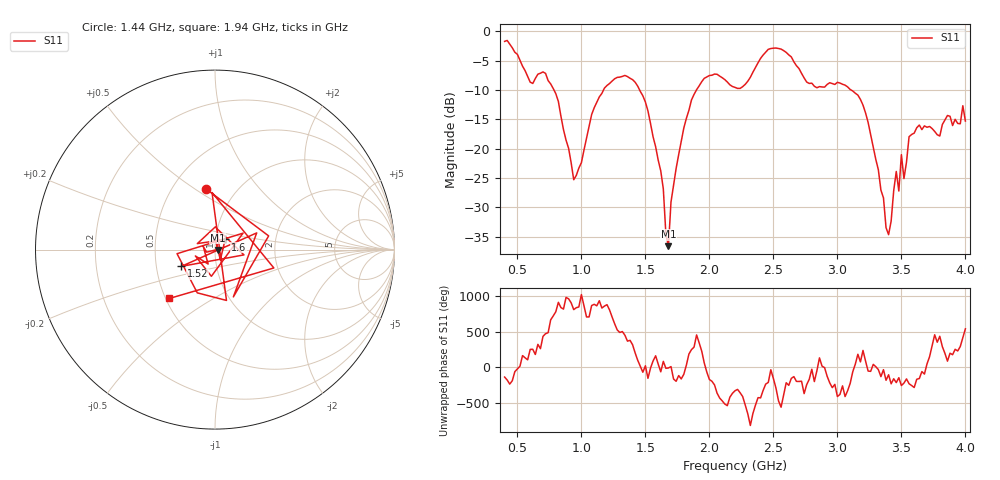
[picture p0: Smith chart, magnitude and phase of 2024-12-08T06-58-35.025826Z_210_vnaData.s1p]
!Created with skrf (http://scikit-rf.org).
# Hz S RI R 50.0
!freq ReS11 ImS11
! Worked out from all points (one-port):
!   181 points, 400 MHz to 4 GHz, reference 50 ohm
!   lowest |S11| = -36.6 dB at 1.68 GHz (marker M1), VSWR 1.03, Z = 51.5 - j0.233 ohm
!   |S11| at or under -10 dB: 785.8 MHz to 1.172 GHz (386.7 MHz wide, 39.5 % of centre); 1.455 GHz to 1.898 GHz (443.3 MHz wide, 26.4 % of centre); 3.108 GHz to end of sweep
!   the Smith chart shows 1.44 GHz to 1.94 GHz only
!   S11 on the Smith chart (normalised r, x): 1.44 GHz: 0.73, +0.56; 1.52 GHz: 0.67, -0.13; 1.6 GHz: 1.11, +0.13; 1.94 GHz: 0.52, -0.33
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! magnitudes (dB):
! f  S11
! 400 MHz  -1.7
! 600 MHz  -8.7
! 720 MHz  -7.2
! 860 MHz  -16.7
! 940 MHz  -25.3
! 1.1 GHz  -13.0
! 1.3 GHz  -7.8
! 1.44 GHz  -9.3
! 1.52 GHz  -13.6
! 1.6 GHz  -21.9
! 1.68 GHz  -36.6
! 1.7 GHz  -29.1
! 1.76 GHz  -21.0
! 1.94 GHz  -8.6
! 2.2 GHz  -9.5
! 2.46 GHz  -3.1
! 2.66 GHz  -5.2
! 3.1 GHz  -9.9
! 3.24 GHz  -15.5
! 3.4 GHz  -34.6
! 3.46 GHz  -23.9
! 3.48 GHz  -27.2
! 3.5 GHz  -21.0
! 3.52 GHz  -25.1
! 3.56 GHz  -17.9
! 3.8 GHz  -17.8
! 3.98 GHz  -12.7
! 4 GHz  -15.3
